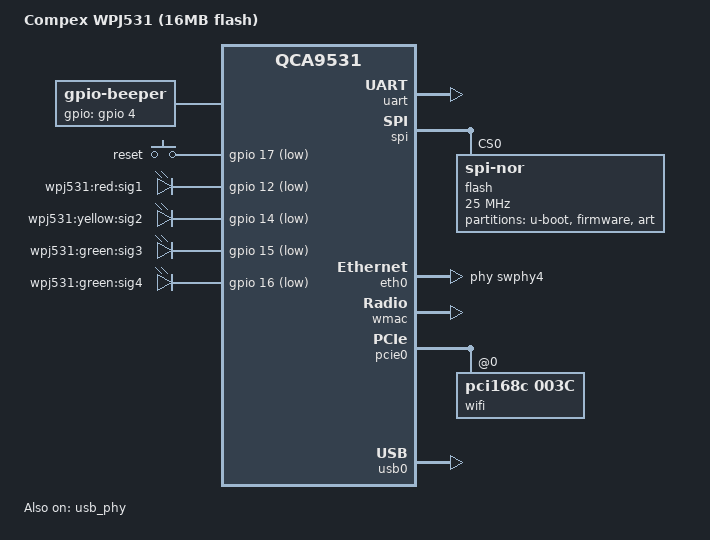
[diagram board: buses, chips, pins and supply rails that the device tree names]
// SPDX-License-Identifier: GPL-2.0-or-later OR MIT
/dts-v1/;

#include <dt-bindings/gpio/gpio.h>
#include <dt-bindings/input/input.h>

#include "qca953x.dtsi"

/ {
	compatible = "compex,wpj531-16m", "qca,qca9531";
	model = "Compex WPJ531 (16MB flash)";

	aliases {
		label-mac-device = &eth0;
		led-boot = &led_sig4;
		led-failsafe = &led_sig4;
		led-running = &led_sig4;
		led-upgrade = &led_sig4;
	};

	beeper {
		compatible = "gpio-beeper";
		gpios = <&gpio 4 GPIO_ACTIVE_HIGH>;
	};

	keys {
		compatible = "gpio-keys";

		reset {
			label = "reset";
			linux,code = <KEY_RESTART>;
			gpios = <&gpio 17 GPIO_ACTIVE_LOW>;
		};
	};

	leds {
		compatible = "gpio-leds";

		pinctrl-names = "default";
		pinctrl-0 = <&pinmux_led_eth_pins>;

		sig1 {
			label = "wpj531:red:sig1";
			gpios = <&gpio 12 GPIO_ACTIVE_LOW>;
		};

		sig2 {
			label = "wpj531:yellow:sig2";
			gpios = <&gpio 14 GPIO_ACTIVE_LOW>;
		};

		sig3 {
			label = "wpj531:green:sig3";
			gpios = <&gpio 15 GPIO_ACTIVE_LOW>;
		};

		led_sig4: sig4 {
			label = "wpj531:green:sig4";
			gpios = <&gpio 16 GPIO_ACTIVE_LOW>;
		};
	};
};

&uart {
	status = "okay";
};

&pinmux {
	pinmux_led_eth_pins: pinmux_led_eth_pins {
		pinctrl-single,bits = <0x8 0x2b000000 0xff000000>, <0xc 0x00002d00 0x0000ff00>;
	};
};

&spi {
	status = "okay";

	flash@0 {
		compatible = "jedec,spi-nor";
		reg = <0>;
		spi-max-frequency = <25000000>;

		partitions {
			compatible = "fixed-partitions";
			#address-cells = <1>;
			#size-cells = <1>;

			uboot: partition@0 {
				label = "u-boot";
				reg = <0x000000 0x030000>;
				read-only;
			};

			partition@30000 {
				label = "firmware";
				reg = <0x030000 0xfc0000>;
				compatible = "denx,uimage";
			};

			art: partition@ff0000 {
				label = "art";
				reg = <0xff0000 0x010000>;
				read-only;
			};
		};
	};
};

&eth1 {
	mtd-mac-address = <&uboot 0x2e018>;
};

&eth0 {
	status = "okay";

	phy-handle = <&swphy4>;

	mtd-mac-address = <&uboot 0x2e010>;
};

&wmac {
	status = "okay";

	mtd-cal-data = <&art 0x1000>;
};

&pcie0 {
	status = "okay";

	wifi@0,0 {
		compatible = "pci168c,003c";
		reg = <0x0000 0 0 0 0>;
	};
};

&usb_phy {
	status = "okay";
};

&usb0 {
	status = "okay";
};
